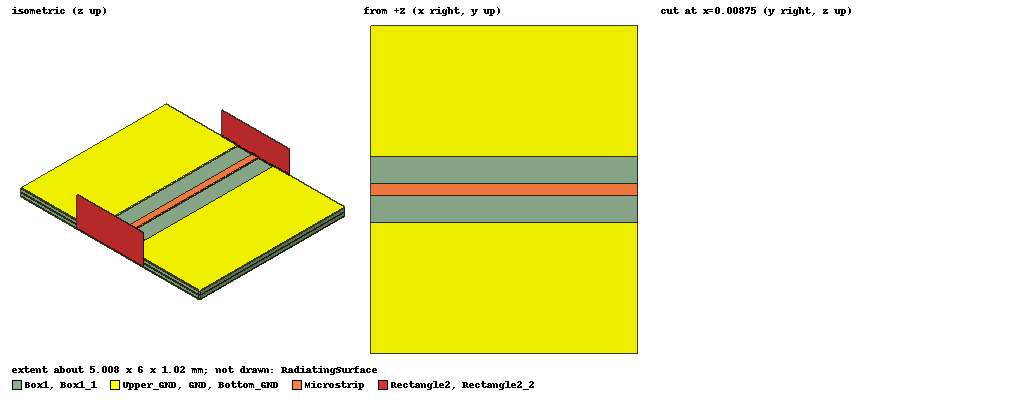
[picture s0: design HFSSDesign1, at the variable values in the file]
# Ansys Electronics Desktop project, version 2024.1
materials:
  vacuum: permittivity=1
  Custom_ADM_Material: permittivity=3.3 dielectric_loss_tangent=0.003 delta_H_freq=10GHz
  copper: permeability=0.999991 conductivity=58000000

design HFSSDesign1 (HFSS, HFSS Terminal Network, model units mm)
options: Allow_Material_Override Calculate_Lossy_Dielectrics
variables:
  track_length = 10mm
  track_width = 0.206mm
  sub_thick = 100um
  G_Spacing = 0.5mm
  port_width = track_width+0.02mm
  copper_thick = 20um
  VIA_D = 0.25mm
  pitch = 0.3025mm
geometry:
  Box1 [Custom_ADM_Material] = box(corner=(-track_length/2, -3mm, 0mm), size=(track_length, 6mm, -sub_thick))
  GND [copper] = object_from(Box1.face(-z))
  Microstrip [copper] = rectangle(corner=(-track_length/2, -track_width/2, 0mm), x_size=track_length, y_size=track_width)
  Microstrip.thicken(20um)
  Rectangle1 = rectangle(corner=(-track_length/2, track_width/2+G_Spacing, 0mm), x_size=track_length, y_size=3mm-track_width/2-G_Spacing)
  Upper_GND [copper] = Rectangle1.duplicate_along_line(step=(0mm, -G_Spacing-track_width/2-3mm, 0mm), total=2)
  Upper_GND.unite(Rectangle1)
  [Upper_GND, GND].thicken(20um)
  Rectangle2 = rectangle(corner=(track_length/2, -5*port_width, -2*sub_thick-copper_thick), y_size=10*port_width, z_size=10*sub_thick)
  Box1_1 [Custom_ADM_Material] = Box1.duplicate_along_line(step=(0mm, 0mm, -sub_thick-copper_thick), total=2)
  Bottom_GND [copper] = object_from(Box1_1.face(2 of 6))
  Bottom_GND.thicken(copper_thick)
  Cylinder1 = cylinder(axis=Z, base_centre=(track_length/2, G_Spacing+VIA_D, -2*sub_thick-copper_thick), radius=VIA_D/2, height=2*sub_thick+copper_thick)
  Cylinder1_1 [copper], Cylinder1_2..Cylinder1_33 = Cylinder1.duplicate_along_line(step=(-pitch, 0mm, 0mm), total=34)
  Cylinder1.delete()
  Cylinder1_1.unite(Cylinder1_2..Cylinder1_32)
  Cylinder1_1_1 [copper] = Cylinder1_1.duplicate_along_line(step=(0mm, -2*(G_Spacing+VIA_D), 0mm), total=2)
  Cylinder1_33_1 = Cylinder1_33.duplicate_along_line(step=(0mm, -2*(G_Spacing+VIA_D), 0mm), total=2)
  Box3 = box(corner=(-5mm, 3mm, 0.02mm), size=(-2.3355186mm, -6.562601mm, -0.26mm))
  Box3_1 = Box3.copy()
  Cylinder1_33.subtract(Box3_1)
  Cylinder1_33_1.subtract(Box3)
  Cylinder1_33_1_1 [copper] = Cylinder1_33_1.duplicate_around_axis(axis=Z, angle=180deg, total=2)
  Cylinder1_33_1.delete()
  Cylinder1_33_2 [copper] = Cylinder1_33.duplicate_around_axis(axis=Z, angle=180deg, total=2)
  Cylinder1_33.delete()
  Box4 = box(corner=(0.16mm, 0.75mm, 0mm), size=(-6.3375136mm, -6.3797846mm, -20.028887mm))
  Box4.move(-0.038621064mm, 2.4185432mm, 1mm)
  Box4_1 = Box4.copy()
  Bottom_GND.subtract(Box4_1)
  Box4_2 = Box4.copy()
  Box1.subtract(Box4_2)
  Box4_3 = Box4.copy()
  Box1_1.subtract(Box4_3)
  Box4_4 = Box4.copy()
  Cylinder1_1.subtract(Box4_4)
  Box4_5 = Box4.copy()
  Cylinder1_1_1.subtract(Box4_5)
  Box4_8 = Box4.copy()
  Cylinder1_33_1_1.subtract(Box4_8)
  Box4_9 = Box4.copy()
  Cylinder1_33_2.subtract(Box4_9)
  Box4_10 = Box4.copy()
  GND.subtract(Box4_10)
  Box4_11 = Box4.copy()
  Microstrip.subtract(Box4_11)
  Box4_12 = Box4.copy()
  Rectangle2.subtract(Box4_12)
  Upper_GND.subtract(Box4)
  Rectangle2_2 = Rectangle2.duplicate_along_line(step=(-4.8786211mm, 0mm, 0mm), total=2)
  RadiatingSurface [vacuum] = region(absolute_offset: +X=0mm, -X=0mm, +Y=10mm, -Y=10mm, +Z=10mm, -Z=10mm)
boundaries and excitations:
  Open1: Radiation Objects=RadiatingSurface
  Microstrip_T1: Terminal port=1 Faces=Microstrip.face(at (5, 0, 0.01)) TerminalResistance=50ohm
  Microstrip_T2: Terminal port=2 Faces=Microstrip.face(at (0.121379, 0, 0.01)) TerminalResistance=50ohm
  1: Wave Port Faces=Rectangle2.face(at (5, 0, 0.28)) WavePortType=Terminal NumModes=1
  2: Wave Port Faces=Rectangle2_2.face WavePortType=Terminal NumModes=1
  reference conductors: Bottom_GND, Cylinder1_1, Cylinder1_1_1, GND, Upper_GND
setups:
  Setup1: HfssDriven Frequency=10GHz MaxDeltaS=0.02 MaximumPasses=20 MinimumPasses=1 MinimumConvergedPasses=1 PercentRefinement=30 BasisOrder=1 PortAccuracy=2 DrivenSolverType="Direct Solver"
    sweep Sweep: 0GHz to 50GHz, 401 points; Type=Interpolating InterpTolerance=0.5 InterpMaxSolns=250 MinSolvedFreq=0.01GHz PassivityErrorTolerance=0.0001
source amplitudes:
  1:1: 1V 0deg
  2:1: 0V 0deg
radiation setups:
  3D: Infinite Sphere Theta=0deg..180deg step 2deg Phi=-180deg..180deg step 2deg
  Elevation: Infinite Sphere Theta=-180deg..180deg step 1deg Phi=0deg..90deg step 90deg
  Azimuth: Infinite Sphere Theta=90deg..90deg step 0deg Phi=-180deg..180deg step 1deg
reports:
  Terminal S Parameter Plot 1: dB(St(Microstrip_T1,Microstrip_T1)) vs Freq on Setup1 : Sweep [track_width=0.206mm G_Spacing=0.5mm]; markers m1 at 31.625GHz, m2 at 10GHz, m3 at 50GHz
  Terminal S Parameter Plot 2: dB(St(Microstrip_T2,Microstrip_T1)) vs Freq on Setup1 : Sweep
